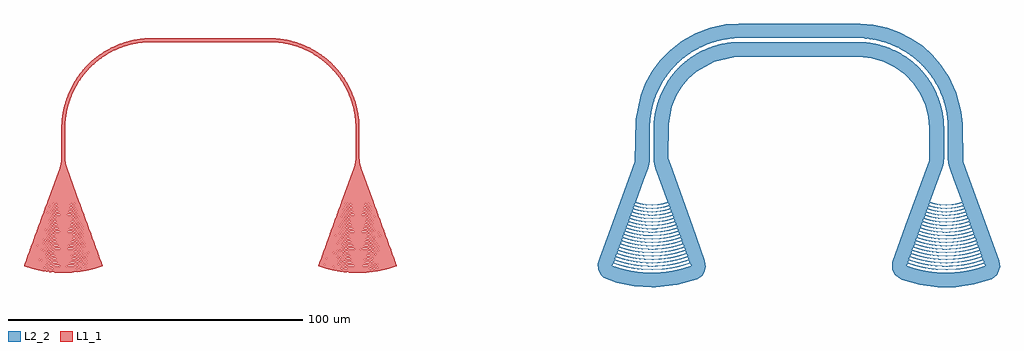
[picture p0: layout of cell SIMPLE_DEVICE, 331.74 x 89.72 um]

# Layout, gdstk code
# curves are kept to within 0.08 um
import gdstk
lib = gdstk.Library(unit=1e-6, precision=1e-09)
def P(c, l, *ps):  # polygons
    for p in ps: c.add(gdstk.Polygon(p, *l))
L1_1 = (1, 1)
L2_2 = (2, 2)

simple_device = lib.new_cell('SIMPLE_DEVICE')
P(simple_device, L1_1, [(0.65,-0.04),(0.774,-1.582),(1.144,-3.126),(5.472,-15.035),(2.891,-15.737),(0.114,-16),(-2.722,-15.767),(-5.472,-15.035),(-1.144,-3.126),(-0.774,-1.582),(-0.65,0)],
  [(-5.477,-15.217),(-2.808,-15.928),(0.115,-16.173),(2.808,-15.928),(5.532,-15.198),(5.867,-16.12),(4.233,-16.625),(2.375,-16.99),(0.428,-17.15),(-1.282,-17.107),(-3.579,-16.778),(-5.867,-16.12)],
  [(-5.869,-16.304),(-2.948,-17.076),(0.123,-17.328),(2.948,-17.076),(5.927,-16.283),(6.262,-17.206),(4.392,-17.776),(2.471,-18.143),(0.587,-18.301),(-1.303,-18.264),(-3.756,-17.921),(-6.262,-17.206)],
  [(-6.26,-17.391),(-3.145,-18.214),(0.132,-18.483),(3.274,-18.191),(6.322,-17.369),(6.657,-18.291),(4.669,-18.897),(2.764,-19.268),(0.693,-19.453),(-1.385,-19.416),(-4.061,-19.037),(-6.657,-18.291)],
  [(-6.651,-18.478),(-3.272,-19.364),(0.14,-19.638),(3.479,-19.328),(6.717,-18.454),(7.052,-19.376),(4.946,-20.018),(3.001,-20.401),(0.808,-20.604),(-1.321,-20.578),(-4.23,-20.182),(-7.052,-19.376)],
  [(-7.042,-19.564),(-5.203,-20.132),(-3.465,-20.503),(0.148,-20.793),(2.07,-20.69),(3.829,-20.438),(7.112,-19.539),(7.447,-20.462),(5.373,-21.102),(3.245,-21.532),(1.008,-21.752),(-1.24,-21.74),(-4.391,-21.328),(-7.447,-20.462)],
  [(-7.433,-20.651),(-3.811,-21.615),(-1.796,-21.875),(0.156,-21.948),(3.811,-21.615),(5.794,-21.17),(7.507,-20.625),(7.843,-21.547),(5.5,-22.261),(3.256,-22.698),(0.98,-22.909),(-1.306,-22.893),(-4.624,-22.459),(-7.843,-21.547)],
  [(-7.824,-21.738),(-4.658,-22.629),(-1.316,-23.066),(0.905,-23.086),(3.281,-22.869),(5.701,-22.389),(7.902,-21.71),(8.238,-22.632),(5.777,-23.382),(3.505,-23.829),(0.943,-24.067),(-1.286,-24.051),(-4.604,-23.641),(-8.076,-22.691),(-8.238,-22.632),(-7.902,-21.71)],
  [(-8.216,-22.825),(-4.807,-23.777),(-1.295,-24.224),(1.037,-24.236),(3.53,-24),(6.07,-23.487),(8.297,-22.795),(8.633,-23.718),(6.228,-24.46),(3.851,-24.945),(1.258,-25.209),(-1.258,-25.209),(-4.737,-24.792),(-8.209,-23.868),(-8.633,-23.718),(-8.297,-22.795)],
  [(-8.607,-23.911),(-4.858,-24.945),(-1.267,-25.382),(1.267,-25.382),(3.698,-25.143),(6.183,-24.65),(8.692,-23.881),(9.028,-24.803),(6.695,-25.532),(4.12,-26.072),(1.597,-26.347),(-1.222,-26.367),(-4.861,-25.944),(-8.406,-25.021),(-9.028,-24.803),(-8.692,-23.881)],
  [(-8.998,-24.998),(-5.172,-26.06),(-1.23,-26.54),(1.23,-26.54),(3.96,-26.272),(6.556,-25.747),(9.087,-24.966),(9.423,-25.889),(6.893,-26.674),(4.009,-27.257),(1.373,-27.516),(-1.373,-27.516),(-4.977,-27.097),(-8.495,-26.208),(-9.423,-25.889),(-9.087,-24.966)],
  [(-9.389,-26.085),(-5.493,-27.174),(-3.545,-27.496),(-1.283,-27.694),(1.481,-27.684),(4.132,-27.414),(6.841,-26.866),(9.482,-26.051),(9.818,-26.974),(7.182,-27.792),(4.379,-28.369),(1.533,-28.664),(-1.227,-28.679),(-4.985,-28.269),(-8.754,-27.338),(-9.818,-26.974),(-9.482,-26.051)],
  [(-9.78,-27.172),(-7.722,-27.827),(-5.52,-28.346),(-3.489,-28.667),(-1.234,-28.852),(1.542,-28.837),(4.304,-28.556),(7.226,-27.96),(9.877,-27.137),(10.213,-28.059),(7.368,-28.937),(4.661,-29.494),(1.701,-29.812),(-1.276,-29.833),(-5.08,-29.425),(-8.903,-28.502),(-10.213,-28.059),(-9.877,-27.137)],
  [(-10.171,-28.258),(-8.031,-28.94),(-5.846,-29.459),(-3.522,-29.826),(-1.283,-30.006),(1.497,-29.996),(4.582,-29.682),(7.411,-29.105),(10.272,-28.222),(10.608,-29.145),(7.653,-30.056),(4.623,-30.669),(1.656,-30.971),(-1.325,-30.987),(-5.277,-30.563),(-9.142,-29.637),(-10.608,-29.145),(-10.272,-28.222)],
  [(-10.563,-29.345),(-8.447,-30.023),(-6.071,-30.592),(-3.768,-30.96),(-1.333,-31.16),(1.666,-31.144),(4.648,-30.84),(7.696,-30.224),(10.667,-29.307),(11.003,-30.23),(8.049,-31.147),(4.795,-31.811),(1.832,-32.118),(-1.375,-32.141),(-5.473,-31.701),(-9.263,-30.808),(-11.003,-30.23),(-10.667,-29.307)],
  [(-10.954,-30.432),(-8.538,-31.196),(-6.296,-31.725),(-3.793,-32.12),(-1.382,-32.314),(1.842,-32.291),(4.934,-31.965),(7.981,-31.343),(11.062,-30.393),(11.398,-31.315),(8.223,-32.295),(5.201,-32.917),(1.898,-33.271),(-1.424,-33.295),(-5.436,-32.879),(-9.596,-31.914),(-11.398,-31.315),(-11.062,-30.393)],
  [(-11.345,-31.519),(-8.843,-32.31),(-6.403,-32.881),(-3.81,-33.281),(-1.312,-33.473),(2.027,-33.437),(5.228,-33.088),(8.382,-32.433),(11.457,-31.478),(11.793,-32.401),(8.508,-33.414),(5.139,-34.095),(1.841,-34.431),(-1.351,-34.454),(-5.503,-34.038),(-9.693,-33.09),(-11.793,-32.401),(-11.457,-31.478)],
  [(-11.736,-32.605),(-9.148,-33.424),(-6.503,-34.038),(-4.064,-34.414),(-1.357,-34.627),(2.097,-34.59),(5.409,-34.229),(8.671,-33.551),(11.852,-32.563),(12.188,-33.486),(8.916,-34.502),(5.437,-35.218),(2.156,-35.57),(-1.396,-35.608),(-5.813,-35.158),(-9.774,-34.269),(-12.188,-33.486),(-11.852,-32.563)],
  [(-12.127,-33.692),(-9.453,-34.538),(-6.845,-35.148),(-4.073,-35.576),(-1.275,-35.786),(2.167,-35.743),(5.463,-35.389),(8.836,-34.701),(12.247,-33.649),(12.583,-34.571),(9.205,-35.62),(5.742,-36.339),(2.226,-36.723),(-1.31,-36.767),(-5.742,-36.339),(-9.964,-35.415),(-12.583,-34.571),(-12.247,-33.649)],
  [(-12.518,-34.779),(-9.63,-35.687),(-6.937,-36.307),(-4.073,-36.738),(-1.316,-36.94),(2.237,-36.896),(5.639,-36.531),(9.248,-35.788),(12.642,-34.734),(12.978,-35.657),(9.625,-36.704),(6.056,-37.459),(2.431,-37.867),(-1.216,-37.926),(-5.789,-37.501),(-10.277,-36.527),(-12.978,-35.657),(-12.642,-34.734)],
  [(-12.91,-35.866),(-9.931,-36.802),(-7.153,-37.441),(-4.065,-37.901),(-1.222,-38.099),(2.442,-38.04),(6.084,-37.63),(9.669,-36.872),(13.037,-35.819),(13.373,-36.742),(9.648,-37.891),(6.103,-38.621),(2.505,-39.02),(-1.253,-39.08),(-5.828,-38.663),(-10.456,-37.676),(-13.373,-36.742),(-13.037,-35.819)],
  [(0.65,0),(-0.65,0),(-0.648,10.379),(-0.416,13.781),(0.192,17.137),(1.043,20.046),(2.338,23.201),(3.976,26.192),(5.936,28.983),(8.194,31.538),(10.721,33.827),(13.487,35.822),(16.458,37.496),(19.596,38.83),(22.863,39.808),(25.843,40.367),(29.621,40.648),(70.758,40.641),(73.028,40.5),(75.281,40.192),(77.872,39.622),(80.046,38.957),(83.881,37.327),(87.459,35.191),(90.715,32.59),(93.587,29.572),(96.024,26.192),(97.98,22.513),(98.83,20.404),(99.522,18.238),(100.367,14.157),(100.641,10.758),(100.65,0),(99.35,0),(99.341,10.726),(99.079,13.981),(98.626,16.48),(97.958,18.931),(97.081,21.316),(96.001,23.615),(94.529,26.117),(92.817,28.461),(90.882,30.625),(89.02,32.353),(86.719,34.123),(84.57,35.478),(81.982,36.793),(79.277,37.845),(77.186,38.457),(75.057,38.911),(72.899,39.206),(70.726,39.341),(29.637,39.348),(26.019,39.079),(22.814,38.457),(20.038,37.607),(17.032,36.33),(14.495,34.92),(11.822,33.043),(9.375,30.882),(7.413,28.742),(5.471,26.117),(3.999,23.615),(2.781,20.98),(1.83,18.237),(1.154,15.414),(0.832,13.26),(0.67,11.089)],
  [(100.65,-0.04),(100.774,-1.582),(101.144,-3.126),(105.472,-15.035),(102.891,-15.737),(100.114,-16),(97.278,-15.767),(94.528,-15.035),(98.856,-3.126),(99.226,-1.582),(99.35,0)],
  [(94.523,-15.217),(97.192,-15.928),(100.115,-16.173),(102.808,-15.928),(105.532,-15.198),(105.867,-16.12),(104.233,-16.625),(102.375,-16.99),(100.428,-17.15),(98.718,-17.107),(96.421,-16.778),(94.133,-16.12)],
  [(94.131,-16.304),(97.052,-17.076),(100.123,-17.328),(102.948,-17.076),(105.927,-16.283),(106.262,-17.206),(104.392,-17.776),(102.471,-18.143),(100.587,-18.301),(98.697,-18.264),(96.244,-17.921),(93.738,-17.206)],
  [(93.74,-17.391),(96.855,-18.214),(100.132,-18.483),(103.274,-18.191),(106.322,-17.369),(106.657,-18.291),(104.669,-18.897),(102.764,-19.268),(100.693,-19.453),(98.615,-19.416),(95.939,-19.037),(93.343,-18.291)],
  [(93.349,-18.478),(96.728,-19.364),(100.14,-19.638),(103.479,-19.328),(106.717,-18.454),(107.052,-19.376),(104.946,-20.018),(103.001,-20.401),(100.808,-20.604),(98.679,-20.578),(95.77,-20.182),(92.948,-19.376)],
  [(92.958,-19.564),(94.797,-20.132),(96.535,-20.503),(100.148,-20.793),(102.07,-20.69),(103.829,-20.438),(107.112,-19.539),(107.447,-20.462),(105.373,-21.102),(103.245,-21.532),(101.008,-21.752),(98.76,-21.74),(95.609,-21.328),(92.553,-20.462)],
  [(92.567,-20.651),(96.189,-21.615),(98.204,-21.875),(100.156,-21.948),(103.811,-21.615),(105.794,-21.17),(107.507,-20.625),(107.843,-21.547),(105.5,-22.261),(103.256,-22.698),(100.98,-22.909),(98.694,-22.893),(95.376,-22.459),(92.157,-21.547)],
  [(92.176,-21.738),(95.342,-22.629),(98.684,-23.066),(100.905,-23.086),(103.281,-22.869),(105.701,-22.389),(107.902,-21.71),(108.238,-22.632),(105.777,-23.382),(103.505,-23.829),(100.943,-24.067),(98.714,-24.051),(95.396,-23.641),(91.924,-22.691),(91.762,-22.632),(92.098,-21.71)],
  [(91.784,-22.825),(95.193,-23.777),(98.705,-24.224),(101.037,-24.236),(103.53,-24),(106.07,-23.487),(108.297,-22.795),(108.633,-23.718),(106.228,-24.46),(103.851,-24.945),(101.258,-25.209),(98.742,-25.209),(95.263,-24.792),(91.791,-23.868),(91.367,-23.718),(91.703,-22.795)],
  [(91.393,-23.911),(95.142,-24.945),(98.733,-25.382),(101.267,-25.382),(103.698,-25.143),(106.183,-24.65),(108.692,-23.881),(109.028,-24.803),(106.695,-25.532),(104.12,-26.072),(101.597,-26.347),(98.778,-26.367),(95.139,-25.944),(91.594,-25.021),(90.972,-24.803),(91.308,-23.881)],
  [(91.002,-24.998),(94.828,-26.06),(98.77,-26.54),(101.23,-26.54),(103.96,-26.272),(106.556,-25.747),(109.087,-24.966),(109.423,-25.889),(106.893,-26.674),(104.009,-27.257),(101.373,-27.516),(98.627,-27.516),(95.023,-27.097),(91.505,-26.208),(90.577,-25.889),(90.913,-24.966)],
  [(90.611,-26.085),(94.507,-27.174),(96.455,-27.496),(98.717,-27.694),(101.481,-27.684),(104.132,-27.414),(106.841,-26.866),(109.482,-26.051),(109.818,-26.974),(107.182,-27.792),(104.379,-28.369),(101.533,-28.664),(98.773,-28.679),(95.015,-28.269),(91.246,-27.338),(90.182,-26.974),(90.518,-26.051)],
  [(90.22,-27.172),(92.278,-27.827),(94.48,-28.346),(96.511,-28.667),(98.766,-28.852),(101.542,-28.837),(104.304,-28.556),(107.226,-27.96),(109.877,-27.137),(110.213,-28.059),(107.368,-28.937),(104.661,-29.494),(101.701,-29.812),(98.724,-29.833),(94.92,-29.425),(91.097,-28.502),(89.787,-28.059),(90.123,-27.137)],
  [(89.829,-28.258),(91.969,-28.94),(94.154,-29.459),(96.478,-29.826),(98.717,-30.006),(101.497,-29.996),(104.582,-29.682),(107.411,-29.105),(110.272,-28.222),(110.608,-29.145),(107.653,-30.056),(104.623,-30.669),(101.656,-30.971),(98.675,-30.987),(94.723,-30.563),(90.858,-29.637),(89.392,-29.145),(89.728,-28.222)],
  [(89.437,-29.345),(91.553,-30.023),(93.929,-30.592),(96.232,-30.96),(98.667,-31.16),(101.666,-31.144),(104.648,-30.84),(107.696,-30.224),(110.667,-29.307),(111.003,-30.23),(108.049,-31.147),(104.795,-31.811),(101.832,-32.118),(98.625,-32.141),(94.527,-31.701),(90.737,-30.808),(88.997,-30.23),(89.333,-29.307)],
  [(89.046,-30.432),(91.462,-31.196),(93.704,-31.725),(96.207,-32.12),(98.618,-32.314),(101.842,-32.291),(104.934,-31.965),(107.981,-31.343),(111.062,-30.393),(111.398,-31.315),(108.223,-32.295),(105.201,-32.917),(101.898,-33.271),(98.576,-33.295),(94.564,-32.879),(90.404,-31.914),(88.602,-31.315),(88.938,-30.393)],
  [(88.655,-31.519),(91.157,-32.31),(93.597,-32.881),(96.19,-33.281),(98.688,-33.473),(102.027,-33.437),(105.228,-33.088),(108.382,-32.433),(111.457,-31.478),(111.793,-32.401),(108.508,-33.414),(105.139,-34.095),(101.841,-34.431),(98.649,-34.454),(94.497,-34.038),(90.307,-33.09),(88.207,-32.401),(88.543,-31.478)],
  [(88.264,-32.605),(90.852,-33.424),(93.497,-34.038),(95.936,-34.414),(98.643,-34.627),(102.097,-34.59),(105.409,-34.229),(108.671,-33.551),(111.852,-32.563),(112.188,-33.486),(108.916,-34.502),(105.437,-35.218),(102.156,-35.57),(98.604,-35.608),(94.187,-35.158),(90.226,-34.269),(87.812,-33.486),(88.148,-32.563)],
  [(87.873,-33.692),(90.547,-34.538),(93.155,-35.148),(95.927,-35.576),(98.725,-35.786),(102.167,-35.743),(105.463,-35.389),(108.836,-34.701),(112.247,-33.649),(112.583,-34.571),(109.205,-35.62),(105.742,-36.339),(102.226,-36.723),(98.69,-36.767),(94.258,-36.339),(90.036,-35.415),(87.417,-34.571),(87.753,-33.649)],
  [(87.482,-34.779),(90.37,-35.687),(93.063,-36.307),(95.927,-36.738),(98.684,-36.94),(102.237,-36.896),(105.639,-36.531),(109.248,-35.788),(112.642,-34.734),(112.978,-35.657),(109.625,-36.704),(106.056,-37.459),(102.431,-37.867),(98.784,-37.926),(94.211,-37.501),(89.723,-36.527),(87.022,-35.657),(87.358,-34.734)],
  [(87.09,-35.866),(90.069,-36.802),(92.847,-37.441),(95.935,-37.901),(98.778,-38.099),(102.442,-38.04),(106.084,-37.63),(109.669,-36.872),(113.037,-35.819),(113.373,-36.742),(109.648,-37.891),(106.103,-38.621),(102.505,-39.02),(98.747,-39.08),(94.172,-38.663),(89.544,-37.676),(86.627,-36.742),(86.963,-35.819)])
P(simple_device, L2_2, [(318.368,-36.962),(317.402,-39.703),(315.528,-41.254),(309.651,-43.031),(303.304,-43.976),(300,-43.994),(300,-39.1),(303.477,-38.945),(306.927,-38.482),(310.187,-37.75),(313.373,-36.742),(313.037,-35.819),(309.931,-36.802),(306.619,-37.539),(303.255,-37.979),(300,-38.118),(300,-37.945),(303.644,-37.77),(307.121,-37.271),(310.017,-36.599),(312.978,-35.657),(312.642,-34.734),(309.63,-35.687),(306.419,-36.402),(303.287,-36.817),(300,-36.963),(300,-36.79),(303.533,-36.62),(307.033,-36.112),(309.712,-35.485),(312.583,-34.571),(312.247,-33.649),(309.329,-34.572),(306.344,-35.242),(303.311,-35.655),(300,-35.808),(300,-35.635),(303.169,-35.494),(306.687,-35.002),(309.407,-34.371),(312.188,-33.486),(311.852,-32.563),(309.029,-33.456),(306.017,-34.127),(302.959,-34.527),(300,-34.653),(300,-34.48),(303.311,-34.321),(306.471,-33.867),(309.102,-33.257),(311.793,-32.401),(311.457,-31.478),(308.497,-32.403),(305.699,-33.01),(302.979,-33.366),(300,-33.498),(300,-33.325),(303.2,-33.171),(306.254,-32.733),(308.797,-32.143),(311.398,-31.315),(311.062,-30.393),(308.427,-31.226),(305.73,-31.832),(302.991,-32.205),(300,-32.343),(300,-32.17),(302.861,-32.043),(306.15,-31.577),(308.713,-30.968),(311.003,-30.23),(310.667,-29.307),(308.018,-30.14),(305.306,-30.734),(302.552,-31.084),(300,-31.188),(300,-31.015),(302.978,-30.872),(305.712,-30.485),(308.294,-29.886),(310.608,-29.145),(310.272,-28.222),(307.721,-29.024),(305.215,-29.577),(302.564,-29.924),(300,-30.033),(300,-29.86),(302.973,-29.712),(305.604,-29.33),(307.985,-28.773),(310.213,-28.059),(309.877,-27.137),(307.425,-27.908),(305.015,-28.44),(302.466,-28.773),(300,-28.878),(300,-28.705),(302.349,-28.609),(304.682,-28.321),(308.167,-27.519),(309.818,-26.974),(309.482,-26.051),(307.032,-26.817),(304.23,-27.399),(300.987,-27.706),(300,-27.723),(300,-27.55),(302.645,-27.423),(305.17,-27.061),(308.495,-26.208),(309.423,-25.889),(309.359,-25.715),(314.685,-25.715),(318.071,-35.032)],
  [(190.577,-25.889),(192.822,-26.599),(195.119,-27.114),(197.55,-27.441),(200,-27.55),(200,-27.723),(199.013,-27.706),(195.77,-27.399),(192.968,-26.817),(190.518,-26.051),(190.182,-26.974),(192.324,-27.66),(194.513,-28.176),(197.345,-28.582),(200,-28.705),(200,-28.878),(197.534,-28.773),(194.985,-28.44),(192.575,-27.908),(190.123,-27.137),(189.787,-28.059),(192.015,-28.773),(194.396,-29.33),(197.027,-29.712),(200,-29.86),(200,-30.033),(197.436,-29.924),(194.785,-29.577),(192.279,-29.024),(189.728,-28.222),(189.392,-29.145),(191.706,-29.886),(194.288,-30.485),(197.022,-30.872),(200,-31.015),(200,-31.188),(197.448,-31.084),(194.694,-30.734),(191.982,-30.14),(189.333,-29.307),(188.997,-30.23),(191.287,-30.968),(193.85,-31.577),(197.139,-32.043),(200,-32.17),(200,-32.343),(197.009,-32.205),(194.27,-31.832),(191.573,-31.226),(188.938,-30.393),(188.602,-31.315),(191.203,-32.143),(193.746,-32.733),(196.8,-33.171),(200,-33.325),(200,-33.498),(197.021,-33.366),(194.301,-33.01),(191.503,-32.403),(188.543,-31.478),(188.207,-32.401),(190.898,-33.257),(193.529,-33.867),(196.689,-34.321),(200,-34.48),(200,-34.653),(197.041,-34.527),(193.983,-34.127),(190.971,-33.456),(188.148,-32.563),(187.812,-33.486),(190.593,-34.371),(193.313,-35.002),(196.831,-35.494),(200,-35.635),(200,-35.808),(196.689,-35.655),(193.656,-35.242),(190.671,-34.572),(187.753,-33.649),(187.417,-34.571),(190.288,-35.485),(192.967,-36.112),(196.467,-36.62),(200,-36.79),(200,-36.963),(196.713,-36.817),(193.581,-36.402),(190.37,-35.687),(187.358,-34.734),(187.022,-35.657),(189.983,-36.599),(192.879,-37.271),(196.356,-37.77),(200,-37.945),(200,-38.118),(196.745,-37.979),(193.381,-37.539),(190.069,-36.802),(186.963,-35.819),(186.627,-36.742),(189.813,-37.75),(193.073,-38.482),(196.523,-38.945),(200,-39.1),(200,-44.004),(194.058,-43.698),(188.047,-42.449),(183.632,-40.746),(182.598,-39.703),(181.771,-37.934),(181.685,-35.982),(185.322,-25.699),(190.646,-25.699)],
  [(218.071,-35.032),(218.368,-36.962),(217.903,-38.859),(217.092,-40.084),(215.528,-41.254),(208.747,-43.224),(201.422,-44.077),(200,-44.004),(200,-39.1),(203.477,-38.945),(206.927,-38.482),(210.187,-37.75),(213.373,-36.742),(213.037,-35.819),(209.931,-36.802),(206.619,-37.539),(203.255,-37.979),(200,-38.118),(200,-37.945),(203.644,-37.77),(207.121,-37.271),(210.017,-36.599),(212.978,-35.657),(212.642,-34.734),(209.63,-35.687),(206.419,-36.402),(203.287,-36.817),(200,-36.963),(200,-36.79),(203.533,-36.62),(207.033,-36.112),(209.712,-35.485),(212.583,-34.571),(212.247,-33.649),(209.329,-34.572),(206.344,-35.242),(203.311,-35.655),(200,-35.808),(200,-35.635),(203.169,-35.494),(206.687,-35.002),(209.407,-34.371),(212.188,-33.486),(211.852,-32.563),(209.029,-33.456),(206.017,-34.127),(202.959,-34.527),(200,-34.653),(200,-34.48),(203.311,-34.321),(206.471,-33.867),(209.102,-33.257),(211.793,-32.401),(211.457,-31.478),(208.497,-32.403),(205.699,-33.01),(202.979,-33.366),(200,-33.498),(200,-33.325),(203.2,-33.171),(206.254,-32.733),(208.797,-32.143),(211.398,-31.315),(211.062,-30.393),(208.427,-31.226),(205.73,-31.832),(202.991,-32.205),(200,-32.343),(200,-32.17),(202.861,-32.043),(206.15,-31.577),(208.713,-30.968),(211.003,-30.23),(210.667,-29.307),(208.018,-30.14),(205.306,-30.734),(202.552,-31.084),(200,-31.188),(200,-31.015),(202.978,-30.872),(205.712,-30.485),(208.294,-29.886),(210.608,-29.145),(210.272,-28.222),(207.721,-29.024),(205.215,-29.577),(202.564,-29.924),(200,-30.033),(200,-29.86),(202.973,-29.712),(205.604,-29.33),(207.985,-28.773),(210.213,-28.059),(209.877,-27.137),(207.425,-27.908),(205.015,-28.44),(202.466,-28.773),(200,-28.878),(200,-28.705),(202.655,-28.582),(205.487,-28.176),(207.676,-27.66),(209.818,-26.974),(209.482,-26.051),(207.223,-26.766),(204.911,-27.285),(202.367,-27.622),(200,-27.723),(200,-27.55),(202.645,-27.423),(205.17,-27.061),(207.273,-26.573),(209.423,-25.889),(209.087,-24.966),(206.922,-25.651),(204.614,-26.165),(202.363,-26.463),(200,-26.568),(200,-26.395),(202.254,-26.299),(204.398,-26.026),(207.69,-25.25),(209.028,-24.803),(208.692,-23.881),(206.359,-24.605),(203.967,-25.102),(200.995,-25.394),(200,-25.413),(200,-25.24),(202.96,-25.066),(205.792,-24.567),(208.633,-23.718),(208.451,-23.22),(213.861,-23.22)],
  [(291.367,-23.718),(293.511,-24.392),(295.617,-24.857),(297.845,-25.148),(300,-25.24),(300,-25.413),(299.005,-25.394),(296.033,-25.102),(293.641,-24.605),(291.308,-23.881),(290.972,-24.803),(293.032,-25.459),(294.954,-25.908),(297.465,-26.273),(300,-26.395),(300,-26.568),(297.637,-26.463),(295.386,-26.165),(293.078,-25.651),(290.913,-24.966),(290.577,-25.889),(292.727,-26.573),(294.83,-27.061),(297.355,-27.423),(300,-27.55),(300,-27.723),(297.633,-27.622),(295.089,-27.285),(292.777,-26.766),(290.518,-26.051),(290.182,-26.974),(292.324,-27.66),(294.513,-28.176),(297.345,-28.582),(300,-28.705),(300,-28.878),(297.534,-28.773),(294.985,-28.44),(292.575,-27.908),(290.123,-27.137),(289.787,-28.059),(292.015,-28.773),(294.396,-29.33),(297.027,-29.712),(300,-29.86),(300,-30.033),(297.436,-29.924),(294.785,-29.577),(292.279,-29.024),(289.728,-28.222),(289.392,-29.145),(291.706,-29.886),(294.288,-30.485),(297.022,-30.872),(300,-31.015),(300,-31.188),(297.448,-31.084),(294.694,-30.734),(291.982,-30.14),(289.333,-29.307),(288.997,-30.23),(291.287,-30.968),(293.85,-31.577),(297.139,-32.043),(300,-32.17),(300,-32.343),(297.009,-32.205),(294.27,-31.832),(291.573,-31.226),(288.938,-30.393),(288.602,-31.315),(291.203,-32.143),(293.746,-32.733),(296.8,-33.171),(300,-33.325),(300,-33.498),(297.021,-33.366),(294.301,-33.01),(291.503,-32.403),(288.543,-31.478),(288.207,-32.401),(290.898,-33.257),(293.529,-33.867),(296.689,-34.321),(300,-34.48),(300,-34.653),(297.041,-34.527),(293.983,-34.127),(290.971,-33.456),(288.148,-32.563),(287.812,-33.486),(290.593,-34.371),(293.313,-35.002),(296.831,-35.494),(300,-35.635),(300,-35.808),(296.689,-35.655),(293.656,-35.242),(290.671,-34.572),(287.753,-33.649),(287.417,-34.571),(290.288,-35.485),(292.967,-36.112),(296.467,-36.62),(300,-36.79),(300,-36.963),(296.713,-36.817),(293.581,-36.402),(290.37,-35.687),(287.358,-34.734),(287.022,-35.657),(289.983,-36.599),(292.879,-37.271),(296.356,-37.77),(300,-37.945),(300,-38.118),(296.745,-37.979),(293.381,-37.539),(290.069,-36.802),(286.963,-35.819),(286.627,-36.742),(289.813,-37.75),(293.073,-38.482),(296.523,-38.945),(300,-39.1),(300,-43.994),(297.183,-44.01),(291.099,-43.192),(284.925,-41.443),(282.598,-39.703),(281.771,-37.934),(281.783,-35.501),(286.243,-23.17),(291.567,-23.17)],
  [(299.052,-2.439),(294.528,-15.035),(297.278,-15.767),(300,-16),(300,-16.173),(297.192,-15.928),(294.468,-15.198),(294.133,-16.12),(296.541,-16.803),(298.231,-17.064),(300,-17.155),(300,-17.328),(297.052,-17.076),(294.073,-16.283),(293.738,-17.206),(296.244,-17.921),(298.047,-18.206),(300,-18.31),(300,-18.483),(296.855,-18.214),(293.678,-17.369),(293.343,-18.291),(296.211,-19.093),(298.2,-19.382),(300,-19.465),(300,-19.638),(296.521,-19.328),(293.283,-18.454),(292.948,-19.376),(295.986,-20.226),(297.947,-20.518),(300,-20.62),(300,-20.793),(296.535,-20.503),(294.797,-20.132),(292.888,-19.539),(292.553,-20.462),(295.609,-21.328),(297.832,-21.667),(300,-21.775),(300,-21.948),(298.204,-21.875),(296.189,-21.615),(294.206,-21.17),(292.493,-20.625),(292.157,-21.547),(295.697,-22.523),(297.88,-22.832),(300,-22.93),(300,-23.103),(297.945,-23.012),(295.907,-22.738),(294.06,-22.327),(292.098,-21.71),(291.762,-22.632),(293.424,-23.17),(292.816,-23.17),(291.703,-22.795),(291.567,-23.17),(286.243,-23.17),(294.24,-1.058),(294.348,10.301),(294.036,13.898),(293.005,17.981),(291.286,21.826),(288.93,25.316),(286.008,28.349),(282.607,30.832),(278.829,32.693),(274.787,33.875),(270.602,34.342),(250,34.302),(250,39.35),(270.363,39.348),(272.538,39.24),(275.057,38.911),(278.931,37.958),(282.312,36.643),(285.812,34.726),(289.02,32.353),(291.876,29.567),(293.266,27.891),(294.529,26.117),(295.656,24.254),(296.643,22.312),(297.482,20.303),(298.17,18.237),(298.971,14.699),(299.33,11.089),(299.349,-0.159)],
  [(194.635,-15.074),(197.278,-15.767),(200,-16),(200,-16.173),(199.885,-16.173),(197.59,-15.993),(195.953,-15.659),(194.468,-15.198),(194.133,-16.12),(196.541,-16.803),(198.231,-17.064),(200,-17.155),(200,-17.328),(197.052,-17.076),(194.073,-16.283),(193.738,-17.206),(196.244,-17.921),(198.047,-18.206),(200,-18.31),(200,-18.483),(196.855,-18.214),(193.678,-17.369),(193.343,-18.291),(196.211,-19.093),(198.2,-19.382),(200,-19.465),(200,-19.638),(196.521,-19.328),(193.283,-18.454),(192.948,-19.376),(195.986,-20.226),(197.947,-20.518),(200,-20.62),(200,-20.793),(196.535,-20.503),(194.797,-20.132),(192.888,-19.539),(192.553,-20.462),(195.609,-21.328),(197.832,-21.667),(200,-21.775),(200,-21.948),(198.204,-21.875),(196.189,-21.615),(194.206,-21.17),(192.493,-20.625),(192.157,-21.547),(195.697,-22.523),(197.88,-22.832),(200,-22.93),(200,-23.103),(197.945,-23.012),(195.907,-22.738),(194.06,-22.327),(192.098,-21.71),(191.762,-22.632),(195.396,-23.641),(197.687,-23.974),(200,-24.085),(200,-24.258),(197.929,-24.17),(195.873,-23.905),(193.763,-23.443),(191.703,-22.795),(191.367,-23.718),(195.175,-24.775),(197.487,-25.115),(200,-25.24),(200,-25.413),(197.74,-25.313),(195.676,-25.043),(193.379,-24.536),(191.308,-23.881),(190.972,-24.803),(193.032,-25.459),(194.954,-25.908),(197.465,-26.273),(200,-26.395),(200,-26.568),(197.637,-26.463),(195.386,-26.165),(193.078,-25.651),(190.913,-24.966),(190.646,-25.699),(185.322,-25.699),(194.194,-1.254),(194.486,13.113),(196.187,21.297),(197.839,25.382),(200.189,29.55),(202.869,33.126),(206.21,36.551),(210.398,39.777),(215.017,42.348),(219.965,44.208),(225.134,45.316),(229.59,45.648),(270.851,45.64),(275.302,45.253),(279.976,44.226),(284.179,42.709),(288.106,40.71),(292.055,38.009),(295.385,35.03),(298.279,31.707),(300.932,27.724),(303.544,22.072),(305.185,15.738),(305.624,11.353),(305.831,-1.352),(308.042,-7.436),(302.706,-7.436),(301.144,-3.126),(300.756,-1.465),(300.65,-0.079),(300.648,10.379),(300.5,13.028),(299.808,17.137),(299.196,19.327),(298.424,21.466),(297.327,23.881),(296.024,26.192),(294.752,28.077),(293.096,30.15),(291.267,32.071),(289.279,33.827),(287.146,35.405),(284.885,36.793),(281.817,38.281),(278.238,39.522),(274.907,40.255),(271.137,40.629),(228.863,40.629),(226.595,40.46),(224.346,40.124),(222.128,39.622),(219.954,38.957),(217.142,37.823),(214.457,36.416),(211.923,34.752),(209.566,32.845),(207.155,30.434),(205.248,28.077),(203.584,25.543),(202.177,22.858),(201.17,20.404),(200.478,18.238),(199.948,16.026),(199.584,13.781),(199.359,10.758),(199.349,-0.159),(199.164,-1.934),(198.753,-3.427),(194.528,-15.035)],
  [(200.92,-2.323),(200.651,-0.159),(200.686,11.451),(201.089,15.057),(201.83,18.237),(202.518,20.303),(203.357,22.312),(204.344,24.254),(205.471,26.117),(206.734,27.891),(208.124,29.567),(210.98,32.353),(214.188,34.726),(217.688,36.643),(221.069,37.958),(224.943,38.911),(227.462,39.24),(229.637,39.348),(250,39.35),(250,34.302),(227.894,34.259),(221.171,32.693),(215.157,29.303),(212.466,26.896),(210.16,24.117),(208.29,21.028),(206.805,17.41),(205.697,11.505),(205.654,-0.201),(213.861,-23.22),(208.451,-23.22),(208.297,-22.795),(206.237,-23.443),(204.127,-23.905),(202.071,-24.17),(200,-24.258),(200,-24.085),(202.313,-23.974),(204.604,-23.641),(208.238,-22.632),(207.902,-21.71),(205.94,-22.327),(204.093,-22.738),(202.055,-23.012),(200,-23.103),(200,-22.93),(202.12,-22.832),(204.303,-22.523),(207.843,-21.547),(207.507,-20.625),(205.794,-21.17),(203.811,-21.615),(201.796,-21.875),(200,-21.948),(200,-21.775),(202.168,-21.667),(204.391,-21.328),(207.447,-20.462),(207.112,-19.539),(205.203,-20.132),(203.465,-20.503),(200,-20.793),(200,-20.62),(202.053,-20.518),(204.014,-20.226),(207.052,-19.376),(206.717,-18.454),(203.479,-19.328),(200,-19.638),(200,-19.465),(201.8,-19.382),(203.789,-19.093),(206.657,-18.291),(206.322,-17.369),(203.145,-18.214),(200,-18.483),(200,-18.31),(201.953,-18.206),(203.756,-17.921),(206.262,-17.206),(205.927,-16.283),(202.948,-17.076),(200,-17.328),(200,-17.155),(201.769,-17.064),(203.459,-16.803),(205.867,-16.12),(205.532,-15.198),(202.808,-15.928),(200,-16.173),(200,-16),(202.722,-15.767),(205.472,-15.035)],
  [(293.477,-23.185),(297.09,-23.909),(300.943,-24.067),(304.604,-23.641),(308.238,-22.632),(307.902,-21.71),(305.94,-22.327),(304.093,-22.738),(302.055,-23.012),(300,-23.103),(300,-22.93),(302.12,-22.832),(304.303,-22.523),(307.843,-21.547),(307.507,-20.625),(305.794,-21.17),(303.811,-21.615),(301.796,-21.875),(300,-21.948),(300,-21.775),(302.168,-21.667),(304.391,-21.328),(307.447,-20.462),(307.112,-19.539),(305.203,-20.132),(303.465,-20.503),(300,-20.793),(300,-20.62),(302.053,-20.518),(304.014,-20.226),(307.052,-19.376),(306.717,-18.454),(303.479,-19.328),(300,-19.638),(300,-19.465),(301.8,-19.382),(303.789,-19.093),(306.657,-18.291),(306.322,-17.369),(303.145,-18.214),(300,-18.483),(300,-18.31),(301.953,-18.206),(303.756,-17.921),(306.262,-17.206),(305.927,-16.283),(302.948,-17.076),(300,-17.328),(300,-17.155),(301.769,-17.064),(303.459,-16.803),(305.867,-16.12),(305.532,-15.198),(304.047,-15.659),(302.41,-15.993),(300.115,-16.173),(300,-16.173),(300,-16),(302.722,-15.767),(305.472,-15.035),(302.706,-7.436),(308.042,-7.436),(314.685,-25.715),(309.359,-25.715),(309.087,-24.966),(306.922,-25.651),(304.614,-26.165),(302.363,-26.463),(300,-26.568),(300,-26.395),(302.535,-26.273),(305.046,-25.908),(306.968,-25.459),(309.028,-24.803),(308.692,-23.881),(306.621,-24.536),(304.324,-25.043),(302.26,-25.313),(300,-25.413),(300,-25.24),(302.155,-25.148),(304.383,-24.857),(307.697,-24.038),(308.633,-23.718),(308.297,-22.795),(304.637,-23.811),(302.673,-24.111),(300.605,-24.251),(298.532,-24.214),(296.47,-24),(293.596,-23.398),(292.816,-23.17)])

lib.write_gds('SIMPLE_DEVICE.gds')
